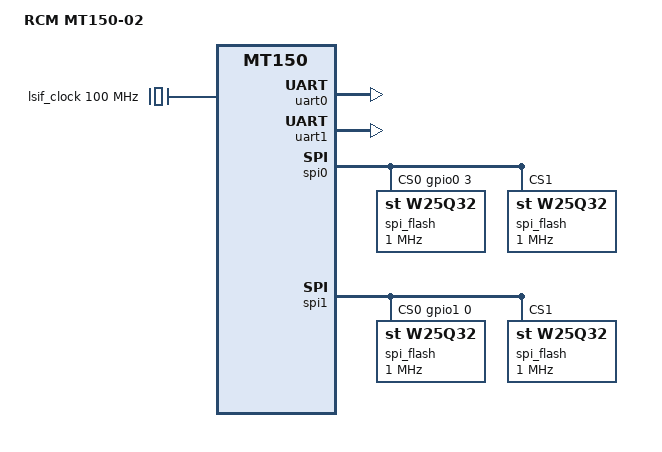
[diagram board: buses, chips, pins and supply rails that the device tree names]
/*
 * Device Tree Source for RCM MT150.02 board
 *
 * Copyright (C) 2020 MIR
 *	Mikhail.Petrov@mir.dev
 *
 * SPDX-License-Identifier: GPL-2.0+
 */
/dts-v1/;

#include <dt-bindings/memory/rcm-emi.h>

/ {
	compatible = "rcm,1888bm18";
	model = "RCM MT150-02";
	#address-cells = <1>;
	#size-cells = <1>;

	config {
		u-boot,spl-payload-offset = <0x40000>;
	};

	chosen {
		stdout-path = "uart0";
	};

	aliases {
		mmc0 = &mmc0;
		mmc1 = &mmc1;
		uart0 = &uart0;
		spi0 = &spi0;
		spi1 = &spi1;
	};

	lsif_clock: lsif_clock@100M {
		u-boot,dm-pre-reloc;
		#clock-cells = <0>;
		compatible = "fixed-clock";
		clock-frequency = <100000000>;
	};

	plb {
		u-boot,dm-pre-reloc;
		compatible = "simple-bus";
		#address-cells = <1>;
		#size-cells = <1>;

		emi0: emi@80060000 {
			status = "disabled";
			u-boot,dm-pre-reloc;
			compatible = "rcm,emi";
			dcr-reg = <0x80060000 0x1000>;
			emi-frc = <(RCM_EMI_RFC_TRFC_9 | RCM_EMI_RFC_RP(0))>;
		};

		lsif {
			u-boot,dm-pre-reloc;
			compatible = "simple-bus";
			#address-cells = <1>;
			#size-cells = <1>;

			// console
			uart0: uart0@D0029000 {
				u-boot,dm-pre-reloc;
				compatible = "arm,pl011", "arm,primecell";
				reg = <0xD0029000 0x1000>;
				clock = <100000000>;
				skip-init; // the UART speed is configured by RUMBOOT and it depens on the board switches
			};

			uart1: uart1@D0039000 {
				compatible = "arm,pl011", "arm,primecell";
				reg = <0xD0039000 0x1000>;
				clock = <100000000>;
			};

			gpio0: gpio0@D0028000 {
				u-boot,dm-pre-reloc;
				compatible = "rcm,pl061";
				#address-cells = <1>;
				#size-cells = <0>;
				#gpio-cells = <2>;
				reg = <0xD0028000 0x1000>;
				gpio-controller;
				gpio-bank-name = "gpio0";
			};

			gpio1: gpio1@D0038000 {
				u-boot,dm-pre-reloc;
				compatible = "rcm,pl061";
				#address-cells = <1>;
				#size-cells = <0>;
				#gpio-cells = <2>;
				reg = <0xD0038000 0x1000>;
				gpio-controller;
				gpio-bank-name = "gpio1";
			};

			mmc0: mmc0@D002C000 {
				u-boot,dm-pre-reloc;
				status = "disabled";
				compatible = "rcm,mmc-0.2";
				reg = <0xD002C000 0x1000>;
				carddetect-gpio = <&gpio0 3 0>;
				min-frequency = <1000000>;
				max-frequency = <25000000>;
				axi-awlen = <15>;
				axi-arlen = <15>;
				axi-awsize = <2>;
				axi-arsize = <2>;
				sdio-timeout = <2000000>;
			};

			mmc1: mmc1@D003C000 {
				u-boot,dm-pre-reloc;
				status = "disabled";
				compatible = "rcm,mmc-0.2";
				reg = <0xD003C000 0x1000>;
				carddetect-gpio = <&gpio1 0 0>;
				min-frequency = <1000000>;
				max-frequency = <25000000>;
				axi-awlen = <15>;
				axi-arlen = <15>;
				axi-awsize = <2>;
				axi-arsize = <2>;
				sdio-timeout = <2000000>;
			};

			spi0: spi@D002B000 {
				u-boot,dm-pre-reloc;
				status = "okay";
				compatible = "arm,pl022-spi", "arm,primecell";
				reg = <0 0xD002B000 0 0x1000>;
				#address-cells = <1>;
				#size-cells = <0>;
				cs-gpios = <&gpio0 3 0>, <0>;
				clocks = <&lsif_clock>;
				spi_flash@0 {
					compatible = "st,w25q32", "spi-flash";
					reg = <0>;
					spi-max-frequency = <1000000>;
					spi-cpol;
					spi-cpha;
					u-boot,dm-pre-reloc;								
				};			

				spi_flash@1 {
					compatible = "st,w25q32", "spi-flash";
					reg = <1>;
					spi-max-frequency = <1000000>;
					spi-cpol;
					spi-cpha;
					u-boot,dm-pre-reloc;								
				};			
			};

			spi1: spi@D003B000 {
				u-boot,dm-pre-reloc;
				status = "okay";
				compatible = "arm,pl022-spi", "arm,primecell";
				reg = <0 0xD003B000 0 0x1000>;
				#address-cells = <1>;
				#size-cells = <0>;
				clocks = <&lsif_clock>;
				cs-gpios = <&gpio1 0 0>, <0>;
				spi_flash@0 {
					compatible = "st,w25q32", "spi-flash";
					reg = <0>;
					spi-max-frequency = <1000000>;
					spi-cpol;
					spi-cpha;
					u-boot,dm-pre-reloc;								
				};			
				spi_flash@1 {
					compatible = "st,w25q32", "spi-flash";
					reg = <1>;
					spi-max-frequency = <1000000>;
					spi-cpol;
					spi-cpha;
					u-boot,dm-pre-reloc;								
				};			
			};
		};
	};
};

// Ethernet
#include "mt150-03.dtsi"

// NOR
// #include "mt150-04.dtsi"

// SRAM
// #include "mt150-07.dtsi"

// SDRAM
#include "mt150-08.dtsi"
